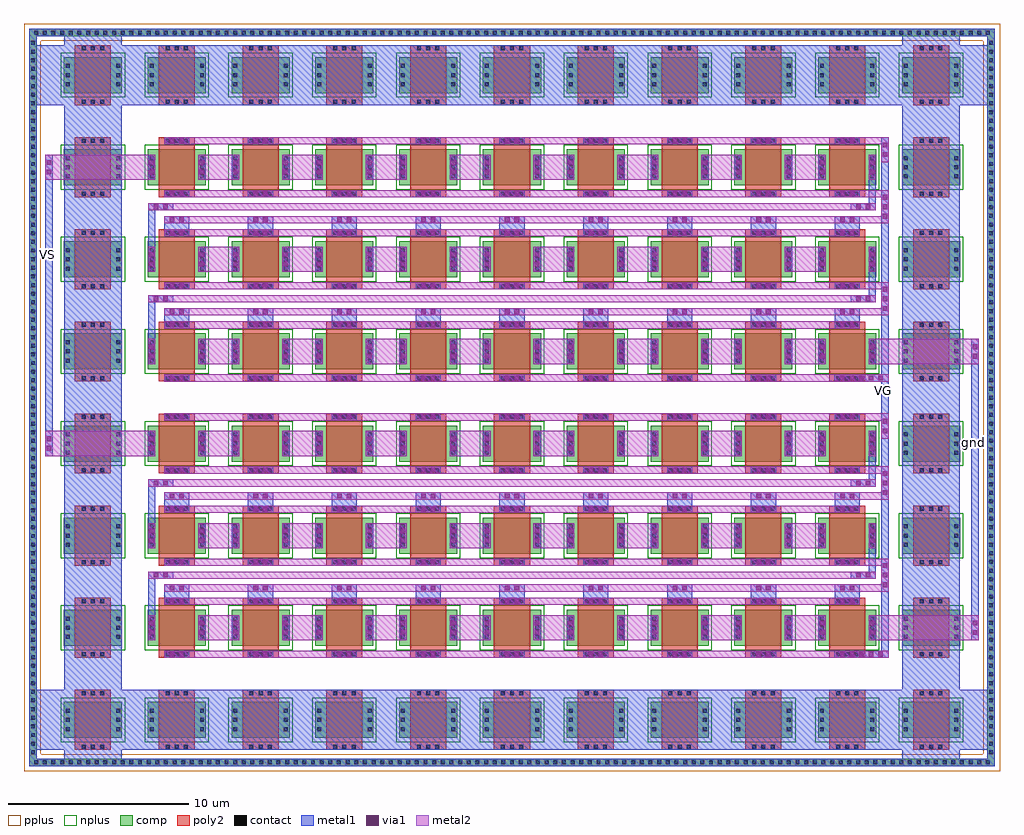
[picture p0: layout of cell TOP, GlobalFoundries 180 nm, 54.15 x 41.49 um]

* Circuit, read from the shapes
.subckt TOP VG VS gnd
XM1 VSUBS VSUBS VSUBS VSUBS nfet_03v3 w=2u l=2u m=34
XM2 n1 VG n2 VSUBS nfet_03v3 w=2u l=2u
XM3 n3 VG n4 VSUBS nfet_03v3 w=2u l=2u
XM4 n5 VG VS VSUBS nfet_03v3 w=2u l=2u
XM5 n6 VG n7 VSUBS nfet_03v3 w=2u l=2u
XM6 n8 VG n9 VSUBS nfet_03v3 w=2u l=2u
XM7 n10 VG VS VSUBS nfet_03v3 w=2u l=2u
XM8 n11 VG n1 VSUBS nfet_03v3 w=2u l=2u
XM9 n12 VG n3 VSUBS nfet_03v3 w=2u l=2u
XM10 n13 VG n5 VSUBS nfet_03v3 w=2u l=2u
XM11 n14 VG n6 VSUBS nfet_03v3 w=2u l=2u
XM12 n15 VG n8 VSUBS nfet_03v3 w=2u l=2u
XM13 n16 VG n10 VSUBS nfet_03v3 w=2u l=2u
XM14 n17 VG n11 VSUBS nfet_03v3 w=2u l=2u
XM15 n18 VG n12 VSUBS nfet_03v3 w=2u l=2u
XM16 n19 VG n13 VSUBS nfet_03v3 w=2u l=2u
XM17 n20 VG n14 VSUBS nfet_03v3 w=2u l=2u
XM18 n21 VG n15 VSUBS nfet_03v3 w=2u l=2u
XM19 n22 VG n16 VSUBS nfet_03v3 w=2u l=2u
XM20 n23 VG n17 VSUBS nfet_03v3 w=2u l=2u
XM21 n24 VG n18 VSUBS nfet_03v3 w=2u l=2u
XM22 n25 VG n19 VSUBS nfet_03v3 w=2u l=2u
XM23 n26 VG n20 VSUBS nfet_03v3 w=2u l=2u
XM24 n27 VG n21 VSUBS nfet_03v3 w=2u l=2u
XM25 n28 VG n22 VSUBS nfet_03v3 w=2u l=2u
XM26 n29 VG n23 VSUBS nfet_03v3 w=2u l=2u
XM27 n30 VG n24 VSUBS nfet_03v3 w=2u l=2u
XM28 n31 VG n25 VSUBS nfet_03v3 w=2u l=2u
XM29 n32 VG n26 VSUBS nfet_03v3 w=2u l=2u
XM30 n33 VG n27 VSUBS nfet_03v3 w=2u l=2u
XM31 n34 VG n28 VSUBS nfet_03v3 w=2u l=2u
XM32 n35 VG n29 VSUBS nfet_03v3 w=2u l=2u
XM33 n36 VG n30 VSUBS nfet_03v3 w=2u l=2u
XM34 n37 VG n31 VSUBS nfet_03v3 w=2u l=2u
XM35 n38 VG n32 VSUBS nfet_03v3 w=2u l=2u
XM36 n39 VG n33 VSUBS nfet_03v3 w=2u l=2u
XM37 n40 VG n34 VSUBS nfet_03v3 w=2u l=2u
XM38 n41 VG n35 VSUBS nfet_03v3 w=2u l=2u
XM39 n42 VG n36 VSUBS nfet_03v3 w=2u l=2u
XM40 n43 VG n37 VSUBS nfet_03v3 w=2u l=2u
XM41 n44 VG n38 VSUBS nfet_03v3 w=2u l=2u
XM42 n45 VG n39 VSUBS nfet_03v3 w=2u l=2u
XM43 n46 VG n40 VSUBS nfet_03v3 w=2u l=2u
XM44 n47 VG n41 VSUBS nfet_03v3 w=2u l=2u
XM45 n48 VG n42 VSUBS nfet_03v3 w=2u l=2u
XM46 n49 VG n43 VSUBS nfet_03v3 w=2u l=2u
XM47 n50 VG n44 VSUBS nfet_03v3 w=2u l=2u
XM48 n51 VG n45 VSUBS nfet_03v3 w=2u l=2u
XM49 n52 VG n46 VSUBS nfet_03v3 w=2u l=2u
XM50 gnd VG n47 VSUBS nfet_03v3 w=2u l=2u
XM51 n2 VG n48 VSUBS nfet_03v3 w=2u l=2u
XM52 n4 VG n49 VSUBS nfet_03v3 w=2u l=2u
XM53 gnd VG n50 VSUBS nfet_03v3 w=2u l=2u
XM54 n7 VG n51 VSUBS nfet_03v3 w=2u l=2u
XM55 n9 VG n52 VSUBS nfet_03v3 w=2u l=2u
.ends

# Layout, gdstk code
from math import pi, radians
import gdstk
lib = gdstk.Library(unit=1e-6, precision=1e-09)
def R(c, l, rs):  # rectangles x0, y0, x1, y1
    for r in rs: c.add(gdstk.rectangle(r[:2], r[2:], *l))
def A(c, l, x, y, w, h, nx, ny, dx, dy):  # array of equal rectangles
    R(c, l, [(x+i*dx, y+j*dy, x+i*dx+w, y+j*dy+h) for i in range(nx) for j in range(ny)])
comp = (22, 0)
poly2 = (30, 0)
pplus = (31, 0)
nplus = (32, 0)
contact = (33, 0)
metal1 = (34, 0)
via1 = (35, 0)
metal2 = (36, 0)

via_dev = lib.new_cell('via_dev')
R(via_dev, metal1, [(0,0,1.4,0.4)])
R(via_dev, via1, [(0.305,0.07,0.565,0.33), (0.835,0.07,1.095,0.33)])
R(via_dev, metal2, [(0,0,1.4,0.4)])

nfet = lib.new_cell('nfet')
R(nfet, comp, [(-0.42,0,0,2), (0,0,2.38,2), (2.38,0,2.8,2)])
R(nfet, poly2, [(0.19,-0.66,2.19,-0.3), (0.19,-0.3,2.19,2.3), (0.19,2.3,2.19,2.66)])
R(nfet, nplus, [(-0.59,-0.24,2.97,2.24)])
A(nfet, contact, 0.57, -0.59, 0.22, 0.22, 3, 2, 0.51, 2.96)
A(nfet, contact, -0.32, 0.38, 0.22, 0.22, 1, 3, 0, 0.51)
A(nfet, contact, 2.48, 0.38, 0.22, 0.22, 1, 3, 0, 0.51)
R(nfet, metal1, [(0.49,-0.67,1.89,-0.29), (-0.4,0.3,-0.02,1.7), (2.4,0.3,2.78,1.7), (0.49,2.29,1.89,2.67)])

via_dev_4 = lib.new_cell('via_dev$4')
R(via_dev_4, comp, [(0,0,40,0.4)])
A(via_dev_4, contact, 0.21, 0.09, 0.22, 0.22, 83, 1, 0.48, 0)
R(via_dev_4, metal1, [(0,0,40,0.4)])

via_dev_5 = lib.new_cell('via_dev$5')
R(via_dev_5, comp, [(0,0,53.55,0.4)])
A(via_dev_5, contact, 0.265, 0.09, 0.22, 0.22, 111, 1, 0.48, 0)
R(via_dev_5, metal1, [(0,0,53.55,0.4)])

via_dev_2 = lib.new_cell('via_dev$2')
R(via_dev_2, metal1, [(0,0,1.84,0.4)])
A(via_dev_2, via1, 0.26, 0.07, 0.26, 0.26, 3, 1, 0.53, 0)
R(via_dev_2, metal2, [(0,0,1.84,0.4)])

via_dev_1 = lib.new_cell('via_dev$1')
R(via_dev_1, metal1, [(0,0,3,0.4)])
A(via_dev_1, via1, 0.31, 0.07, 0.26, 0.26, 5, 1, 0.53, 0)
R(via_dev_1, metal2, [(0,0,3,0.4)])

top = lib.new_cell('TOP')
R(top, comp, [(-10.39,-33.4,-9.99,-33.185), (42.76,-33.4,43.16,-33.185), (-10.39,6.62,-9.99,6.835), (42.76,6.62,43.16,6.835)])
R(top, pplus, [(-10.69,-34.03,-9.75,7.46), (-10.69,-34.03,43.46,-33.09), (42.52,-34.03,43.46,7.46), (-10.69,6.52,43.46,7.46)])
A(top, metal1, -2.915, -24.79, 1.4, 1.13, 9, 2, 4.65, 5.11)
A(top, metal1, -2.915, -9.46, 1.4, 1.13, 9, 2, 4.65, 5.11)
R(top, metal1, [(-8.455,-33.73,-5.275,7.16), (38.045,-33.73,41.225,7.16), (-10.39,-33.4,-9.99,-33.185), (42.76,-33.4,43.16,-33.185), (-10.39,-32.84,43.16,-29.5), (36.875,-27.73,37.275,-14.17), (36.875,-27.73,37.275,-12), (-3.805,-26.76,-3.405,-23.145), (41.87,-26.76,42.27,-10.03), (34.285,-24.79,35.685,-23.66), (36.175,-23.34,36.575,-20.25), (36.175,-23.34,36.575,-20.25), (-3.805,-21.65,-3.405,-17.83), (34.285,-19.68,35.685,-18.55), (36.175,-18.23,36.575,-15.14), (36.175,-18.23,36.575,-15.14), (-9.5,-16.54,-9.1,0.19), (36.875,-12.4,37.275,1.16), (-3.805,-11.43,-3.405,-7.815), (34.285,-9.46,35.685,-8.33), (36.175,-8.01,36.575,-4.92), (36.175,-8.01,36.575,-4.92), (-3.805,-6.32,-3.405,-2.5), (34.285,-4.35,35.685,-3.22), (36.175,-2.9,36.575,0.19), (36.175,-2.9,36.575,0.19), (-10.39,2.93,43.16,6.27), (-10.39,6.62,-9.99,6.835), (42.76,6.62,43.16,6.835)])
A(top, metal2, -1.005, -26.76, 2.23, 1.4, 8, 6, 4.65, 5.11)
R(top, metal2, [(-2.915,-27.73,37.275,-27.33), (36.195,-26.76,42.27,-25.36), (-2.915,-24.79,35.685,-24.39), (-2.915,-24.06,37.275,-23.66), (-3.805,-23.34,36.575,-22.94), (-2.915,-22.62,37.275,-22.22), (-2.915,-19.68,35.685,-19.28), (-2.915,-18.95,37.275,-18.55), (-3.805,-18.23,36.575,-17.83), (-2.915,-17.51,37.275,-17.11), (-9.5,-16.54,-3.425,-15.14), (-2.915,-14.57,37.275,-14.17), (-2.915,-12.4,37.275,-12), (36.195,-11.43,42.27,-10.03), (-2.915,-9.46,35.685,-9.06), (-2.915,-8.73,37.275,-8.33), (-3.805,-8.01,36.575,-7.61), (-2.915,-7.29,37.275,-6.89), (-2.915,-4.35,35.685,-3.95), (-2.915,-3.62,37.275,-3.22), (-3.805,-2.9,36.575,-2.5), (-2.915,-2.18,37.275,-1.78), (-9.5,-1.21,-3.425,0.19), (-2.915,0.76,37.275,1.16)])
top.add(gdstk.Reference(via_dev, (17.085,-1.78), rotation=pi))
top.add(gdstk.Reference(via_dev, (17.085,1.16), rotation=pi))
top.add(gdstk.Reference(nfet, (15.195,-1.51)))
top.add(gdstk.Reference(via_dev, (17.085,-1.78), rotation=pi))
top.add(gdstk.Reference(via_dev, (15.685,-3.62)))
top.add(gdstk.Reference(via_dev, (17.085,-3.95), rotation=pi))
top.add(gdstk.Reference(via_dev, (17.085,-3.95), rotation=pi))
top.add(gdstk.Reference(via_dev, (15.685,-8.73)))
top.add(gdstk.Reference(via_dev, (17.085,-12), rotation=pi))
top.add(gdstk.Reference(nfet, (15.195,-6.62)))
top.add(gdstk.Reference(via_dev, (17.085,-6.89), rotation=pi))
top.add(gdstk.Reference(nfet, (15.195,-11.73)))
top.add(gdstk.Reference(via_dev, (17.085,-6.89), rotation=pi))
top.add(gdstk.Reference(via_dev, (17.085,-9.06), rotation=pi))
top.add(gdstk.Reference(via_dev, (17.085,-6.89), rotation=pi))
top.add(gdstk.Reference(via_dev, (17.085,-9.06), rotation=pi))
top.add(gdstk.Reference(via_dev, (17.085,-9.06), rotation=pi))
top.add(gdstk.Reference(via_dev, (17.085,-17.11), rotation=pi))
top.add(gdstk.Reference(via_dev, (17.085,-14.17), rotation=pi))
top.add(gdstk.Reference(via_dev, (17.085,-17.11), rotation=pi))
top.add(gdstk.Reference(via_dev, (17.085,-19.28), rotation=pi))
top.add(gdstk.Reference(via_dev, (17.085,-19.28), rotation=pi))
top.add(gdstk.Reference(via_dev, (15.685,-18.95)))
top.add(gdstk.Reference(nfet, (15.195,-16.84)))
top.add(gdstk.Reference(via_dev, (15.685,-24.06)))
top.add(gdstk.Reference(nfet, (15.195,-21.95)))
top.add(gdstk.Reference(nfet, (15.195,-27.06)))
top.add(gdstk.Reference(via_dev, (17.085,-24.39), rotation=pi))
top.add(gdstk.Reference(via_dev, (17.085,-22.22), rotation=pi))
top.add(gdstk.Reference(via_dev, (17.085,-24.39), rotation=pi))
top.add(gdstk.Reference(via_dev, (17.085,-24.39), rotation=pi))
top.add(gdstk.Reference(via_dev, (17.085,-27.33), rotation=pi))
top.add(gdstk.Reference(via_dev, (17.085,-22.22), rotation=pi))
top.add(gdstk.Reference(via_dev, (17.085,-22.22), rotation=pi))
top.add(gdstk.Reference(nfet, (15.195,-32.17)))
top.add(gdstk.Reference(via_dev_4, (-10.39,6.71), rotation=3*pi/2))
top.add(gdstk.Reference(via_dev_4, (42.76,6.71), rotation=3*pi/2))
top.add(gdstk.Reference(via_dev_5, (-10.39,6.76)))
top.add(gdstk.Reference(via_dev_5, (-10.39,-33.73)))
top.add(gdstk.Reference(nfet, (15.195,3.6)))
top.add(gdstk.Reference(via_dev, (31.035,-3.95), rotation=pi))
top.add(gdstk.Reference(via_dev, (31.035,-12), rotation=pi))
top.add(gdstk.Reference(nfet, (29.145,-6.62)))
top.add(gdstk.Reference(via_dev, (31.035,-6.89), rotation=pi))
top.add(gdstk.Reference(via_dev, (31.035,-6.89), rotation=pi))
top.add(gdstk.Reference(via_dev, (31.035,-1.78), rotation=pi))
top.add(gdstk.Reference(via_dev, (31.035,-6.89), rotation=pi))
top.add(gdstk.Reference(via_dev, (31.035,-9.06), rotation=pi))
top.add(gdstk.Reference(nfet, (29.145,-11.73)))
top.add(gdstk.Reference(via_dev, (31.035,-9.06), rotation=pi))
top.add(gdstk.Reference(via_dev, (31.035,-9.06), rotation=pi))
top.add(gdstk.Reference(via_dev, (29.635,-8.73)))
top.add(gdstk.Reference(via_dev_2, (36.875,-1.78), rotation=3*pi/2))
top.add(gdstk.Reference(via_dev_2, (36.875,-1.78), rotation=3*pi/2))
top.add(gdstk.Reference(via_dev, (31.035,1.16), rotation=pi))
top.add(gdstk.Reference(via_dev, (31.035,-1.78), rotation=pi))
top.add(gdstk.Reference(nfet, (29.145,-1.51)))
top.add(gdstk.Reference(via_dev, (31.035,-3.95), rotation=pi))
top.add(gdstk.Reference(via_dev, (29.635,-3.62)))
top.add(gdstk.Reference(nfet, (29.145,3.6)))
top.add(gdstk.Reference(via_dev, (35.685,-1.78), rotation=pi))
top.add(gdstk.Reference(via_dev, (35.685,-1.78), rotation=pi))
top.add(gdstk.Reference(via_dev, (35.175,-2.9)))
top.add(gdstk.Reference(via_dev, (35.685,-1.78), rotation=pi))
top.add(gdstk.Reference(via_dev, (35.175,-2.9)))
top.add(gdstk.Reference(via_dev, (36.175,0.19), rotation=3*pi/2))
top.add(gdstk.Reference(via_dev, (36.175,0.19), rotation=3*pi/2))
top.add(gdstk.Reference(nfet, (38.445,-1.51)))
top.add(gdstk.Reference(via_dev, (35.685,1.16), rotation=pi))
top.add(gdstk.Reference(via_dev, (36.875,1.16), rotation=3*pi/2))
top.add(gdstk.Reference(via_dev, (31.525,0.19), rotation=3*pi/2))
top.add(gdstk.Reference(nfet, (33.795,-1.51)))
top.add(gdstk.Reference(via_dev, (36.175,0.19), rotation=3*pi/2))
top.add(gdstk.Reference(via_dev, (35.685,-1.78), rotation=pi))
top.add(gdstk.Reference(via_dev, (33.395,0.19), rotation=3*pi/2))
top.add(gdstk.Reference(via_dev, (35.685,-1.78), rotation=pi))
top.add(gdstk.Reference(via_dev, (36.175,0.19), rotation=3*pi/2))
top.add(gdstk.Reference(via_dev, (35.685,1.16), rotation=pi))
top.add(gdstk.Reference(via_dev, (36.175,0.19), rotation=3*pi/2))
top.add(gdstk.Reference(via_dev, (35.175,-2.9)))
top.add(gdstk.Reference(via_dev, (35.685,-1.78), rotation=pi))
top.add(gdstk.Reference(nfet, (33.795,3.6)))
top.add(gdstk.Reference(via_dev, (35.175,-2.9)))
top.add(gdstk.Reference(nfet, (38.445,3.6)))
top.add(gdstk.Reference(via_dev, (21.735,-1.78), rotation=pi))
top.add(gdstk.Reference(via_dev, (26.385,1.16), rotation=pi))
top.add(gdstk.Reference(via_dev, (26.385,-1.78), rotation=pi))
top.add(gdstk.Reference(via_dev, (21.735,-1.78), rotation=pi))
top.add(gdstk.Reference(via_dev, (22.225,0.19), rotation=3*pi/2))
top.add(gdstk.Reference(via_dev, (26.385,-1.78), rotation=pi))
top.add(gdstk.Reference(via_dev, (24.095,0.19), rotation=3*pi/2))
top.add(gdstk.Reference(nfet, (24.495,-1.51)))
top.add(gdstk.Reference(nfet, (19.845,-1.51)))
top.add(gdstk.Reference(via_dev, (26.875,0.19), rotation=3*pi/2))
top.add(gdstk.Reference(via_dev, (28.745,0.19), rotation=3*pi/2))
top.add(gdstk.Reference(nfet, (19.845,3.6)))
top.add(gdstk.Reference(via_dev, (21.735,1.16), rotation=pi))
top.add(gdstk.Reference(nfet, (24.495,3.6)))
top.add(gdstk.Reference(via_dev, (17.575,0.19), rotation=3*pi/2))
top.add(gdstk.Reference(via_dev, (19.445,0.19), rotation=3*pi/2))
top.add(gdstk.Reference(nfet, (19.845,-6.62)))
top.add(gdstk.Reference(via_dev, (21.735,-9.06), rotation=pi))
top.add(gdstk.Reference(via_dev, (17.575,-4.92), rotation=3*pi/2))
top.add(gdstk.Reference(via_dev, (19.445,-4.92), rotation=3*pi/2))
top.add(gdstk.Reference(via_dev, (21.735,-3.95), rotation=pi))
top.add(gdstk.Reference(via_dev, (24.985,-8.73)))
top.add(gdstk.Reference(nfet, (24.495,-6.62)))
top.add(gdstk.Reference(via_dev, (26.875,-10.03), rotation=3*pi/2))
top.add(gdstk.Reference(via_dev, (26.385,-12), rotation=pi))
top.add(gdstk.Reference(via_dev, (21.735,-3.95), rotation=pi))
top.add(gdstk.Reference(via_dev, (28.745,-10.03), rotation=3*pi/2))
top.add(gdstk.Reference(via_dev, (20.335,-3.62)))
top.add(gdstk.Reference(via_dev, (26.385,-9.06), rotation=pi))
top.add(gdstk.Reference(via_dev, (26.385,-6.89), rotation=pi))
top.add(gdstk.Reference(via_dev, (26.385,-3.95), rotation=pi))
top.add(gdstk.Reference(via_dev, (22.225,-10.03), rotation=3*pi/2))
top.add(gdstk.Reference(via_dev, (26.385,-6.89), rotation=pi))
top.add(gdstk.Reference(via_dev, (21.735,-12), rotation=pi))
top.add(gdstk.Reference(via_dev, (21.735,-9.06), rotation=pi))
top.add(gdstk.Reference(via_dev, (26.385,-6.89), rotation=pi))
top.add(gdstk.Reference(via_dev, (17.575,-10.03), rotation=3*pi/2))
top.add(gdstk.Reference(via_dev, (21.735,-9.06), rotation=pi))
top.add(gdstk.Reference(via_dev, (19.445,-10.03), rotation=3*pi/2))
top.add(gdstk.Reference(via_dev, (21.735,-9.06), rotation=pi))
top.add(gdstk.Reference(via_dev, (20.335,-8.73)))
top.add(gdstk.Reference(via_dev, (21.735,-6.89), rotation=pi))
top.add(gdstk.Reference(nfet, (24.495,-11.73)))
top.add(gdstk.Reference(via_dev, (21.735,-3.95), rotation=pi))
top.add(gdstk.Reference(via_dev, (26.385,-3.95), rotation=pi))
top.add(gdstk.Reference(via_dev, (26.385,-9.06), rotation=pi))
top.add(gdstk.Reference(via_dev, (24.095,-10.03), rotation=3*pi/2))
top.add(gdstk.Reference(via_dev, (26.385,-3.95), rotation=pi))
top.add(gdstk.Reference(via_dev, (24.985,-3.62)))
top.add(gdstk.Reference(nfet, (19.845,-11.73)))
top.add(gdstk.Reference(via_dev, (26.385,-9.06), rotation=pi))
top.add(gdstk.Reference(via_dev, (22.225,-4.92), rotation=3*pi/2))
top.add(gdstk.Reference(via_dev, (24.095,-4.92), rotation=3*pi/2))
top.add(gdstk.Reference(via_dev, (26.875,-4.92), rotation=3*pi/2))
top.add(gdstk.Reference(via_dev, (28.745,-4.92), rotation=3*pi/2))
top.add(gdstk.Reference(via_dev, (21.735,-6.89), rotation=pi))
top.add(gdstk.Reference(via_dev, (21.735,-6.89), rotation=pi))
top.add(gdstk.Reference(via_dev, (26.385,-9.06), rotation=pi))
top.add(gdstk.Reference(via_dev_2, (36.875,-6.89), rotation=3*pi/2))
top.add(gdstk.Reference(via_dev, (35.685,-6.89), rotation=pi))
top.add(gdstk.Reference(via_dev, (35.685,-3.95), rotation=pi))
top.add(gdstk.Reference(via_dev, (36.175,-4.92), rotation=3*pi/2))
top.add(gdstk.Reference(via_dev, (35.175,-8.01)))
top.add(gdstk.Reference(via_dev, (35.685,-9.06), rotation=pi))
top.add(gdstk.Reference(via_dev, (36.175,-10.03), rotation=3*pi/2))
top.add(gdstk.Reference(via_dev_1, (34.275,-12.4)))
top.add(gdstk.Reference(via_dev, (34.285,-3.62)))
top.add(gdstk.Reference(via_dev, (35.175,-8.01)))
top.add(gdstk.Reference(via_dev, (35.685,-6.89), rotation=pi))
top.add(gdstk.Reference(nfet, (33.795,-6.62)))
top.add(gdstk.Reference(via_dev, (35.685,-6.89), rotation=pi))
top.add(gdstk.Reference(via_dev, (35.685,-3.95), rotation=pi))
top.add(gdstk.Reference(via_dev, (35.685,-9.06), rotation=pi))
top.add(gdstk.Reference(nfet, (33.795,-11.73)))
top.add(gdstk.Reference(via_dev, (36.175,-4.92), rotation=3*pi/2))
top.add(gdstk.Reference(via_dev, (31.525,-10.03), rotation=3*pi/2))
top.add(gdstk.Reference(via_dev, (36.175,-4.92), rotation=3*pi/2))
top.add(gdstk.Reference(via_dev, (36.175,-4.92), rotation=3*pi/2))
top.add(gdstk.Reference(via_dev, (36.175,-4.92), rotation=3*pi/2))
top.add(gdstk.Reference(via_dev, (35.175,-8.01)))
top.add(gdstk.Reference(via_dev, (35.175,-8.01)))
top.add(gdstk.Reference(via_dev, (41.87,-10.03), rotation=3*pi/2))
top.add(gdstk.Reference(via_dev, (35.685,-9.06), rotation=pi))
top.add(gdstk.Reference(via_dev, (35.685,-3.95), rotation=pi))
top.add(gdstk.Reference(via_dev, (34.285,-3.62)))
top.add(gdstk.Reference(via_dev, (35.685,-9.06), rotation=pi))
top.add(gdstk.Reference(via_dev, (34.285,-8.73)))
top.add(gdstk.Reference(via_dev, (33.395,-10.03), rotation=3*pi/2))
top.add(gdstk.Reference(via_dev, (35.685,-6.89), rotation=pi))
top.add(gdstk.Reference(via_dev, (36.175,-10.03), rotation=3*pi/2))
top.add(gdstk.Reference(via_dev, (35.685,-6.89), rotation=pi))
top.add(gdstk.Reference(nfet, (38.445,-6.62)))
top.add(gdstk.Reference(nfet, (38.445,-11.73)))
top.add(gdstk.Reference(via_dev, (36.175,-10.03), rotation=3*pi/2))
top.add(gdstk.Reference(via_dev, (36.175,-4.92), rotation=3*pi/2))
top.add(gdstk.Reference(via_dev, (35.685,-6.89), rotation=pi))
top.add(gdstk.Reference(via_dev, (31.525,-4.92), rotation=3*pi/2))
top.add(gdstk.Reference(via_dev_2, (36.875,-6.89), rotation=3*pi/2))
top.add(gdstk.Reference(via_dev, (34.285,-8.73)))
top.add(gdstk.Reference(via_dev, (33.395,-4.92), rotation=3*pi/2))
top.add(gdstk.Reference(via_dev, (35.685,-9.06), rotation=pi))
top.add(gdstk.Reference(via_dev, (3.135,-1.78), rotation=pi))
top.add(gdstk.Reference(via_dev, (3.135,-3.95), rotation=pi))
top.add(gdstk.Reference(via_dev, (3.135,-3.95), rotation=pi))
top.add(gdstk.Reference(via_dev, (1.735,-3.62)))
top.add(gdstk.Reference(via_dev, (1.735,-8.73)))
top.add(gdstk.Reference(via_dev, (3.135,-9.06), rotation=pi))
top.add(gdstk.Reference(via_dev, (3.135,-6.89), rotation=pi))
top.add(gdstk.Reference(nfet, (1.245,-11.73)))
top.add(gdstk.Reference(via_dev, (3.135,-9.06), rotation=pi))
top.add(gdstk.Reference(via_dev, (3.135,-12), rotation=pi))
top.add(gdstk.Reference(via_dev, (3.135,-6.89), rotation=pi))
top.add(gdstk.Reference(nfet, (1.245,-6.62)))
top.add(gdstk.Reference(via_dev, (3.135,-6.89), rotation=pi))
top.add(gdstk.Reference(via_dev, (3.135,-9.06), rotation=pi))
top.add(gdstk.Reference(via_dev, (3.135,1.16), rotation=pi))
top.add(gdstk.Reference(nfet, (1.245,-1.51)))
top.add(gdstk.Reference(nfet, (1.245,3.6)))
top.add(gdstk.Reference(via_dev, (3.135,-1.78), rotation=pi))
top.add(gdstk.Reference(via_dev, (10.145,0.19), rotation=3*pi/2))
top.add(gdstk.Reference(via_dev, (12.925,0.19), rotation=3*pi/2))
top.add(gdstk.Reference(via_dev, (14.795,0.19), rotation=3*pi/2))
top.add(gdstk.Reference(via_dev, (12.435,-1.78), rotation=pi))
top.add(gdstk.Reference(nfet, (5.895,-1.51)))
top.add(gdstk.Reference(via_dev, (12.435,1.16), rotation=pi))
top.add(gdstk.Reference(nfet, (10.545,-1.51)))
top.add(gdstk.Reference(via_dev, (12.435,-1.78), rotation=pi))
top.add(gdstk.Reference(via_dev, (7.785,-1.78), rotation=pi))
top.add(gdstk.Reference(via_dev, (7.785,1.16), rotation=pi))
top.add(gdstk.Reference(via_dev, (7.785,-1.78), rotation=pi))
top.add(gdstk.Reference(via_dev, (3.625,0.19), rotation=3*pi/2))
top.add(gdstk.Reference(nfet, (5.895,3.6)))
top.add(gdstk.Reference(nfet, (10.545,3.6)))
top.add(gdstk.Reference(via_dev, (5.495,0.19), rotation=3*pi/2))
top.add(gdstk.Reference(via_dev, (8.275,0.19), rotation=3*pi/2))
top.add(gdstk.Reference(via_dev, (-1.515,1.16), rotation=pi))
top.add(gdstk.Reference(via_dev, (-3.805,0.19), rotation=3*pi/2))
top.add(gdstk.Reference(via_dev, (-1.025,0.19), rotation=3*pi/2))
top.add(gdstk.Reference(via_dev, (0.845,0.19), rotation=3*pi/2))
top.add(gdstk.Reference(nfet, (-3.405,-1.51)))
top.add(gdstk.Reference(via_dev, (-1.515,-1.78), rotation=pi))
top.add(gdstk.Reference(via_dev, (-1.515,-1.78), rotation=pi))
top.add(gdstk.Reference(nfet, (-8.055,-1.51)))
top.add(gdstk.Reference(via_dev, (-3.805,-2.9)))
top.add(gdstk.Reference(nfet, (-8.055,3.6)))
top.add(gdstk.Reference(via_dev, (-9.5,0.19), rotation=3*pi/2))
top.add(gdstk.Reference(nfet, (-3.405,3.6)))
top.add(gdstk.Reference(via_dev, (-3.805,-2.9)))
top.add(gdstk.Reference(via_dev, (-2.915,-8.73)))
top.add(gdstk.Reference(via_dev, (-1.515,-3.95), rotation=pi))
top.add(gdstk.Reference(nfet, (-3.405,-6.62)))
top.add(gdstk.Reference(nfet, (-3.405,-11.73)))
top.add(gdstk.Reference(via_dev, (-1.515,-3.95), rotation=pi))
top.add(gdstk.Reference(via_dev, (-1.515,-12), rotation=pi))
top.add(gdstk.Reference(via_dev, (-1.515,-9.06), rotation=pi))
top.add(gdstk.Reference(via_dev, (-3.805,-4.92), rotation=3*pi/2))
top.add(gdstk.Reference(via_dev, (-1.515,-6.89), rotation=pi))
top.add(gdstk.Reference(via_dev, (-3.805,-8.01)))
top.add(gdstk.Reference(via_dev, (-1.515,-3.95), rotation=pi))
top.add(gdstk.Reference(via_dev, (-2.915,-3.62)))
top.add(gdstk.Reference(via_dev, (-3.805,-10.03), rotation=3*pi/2))
top.add(gdstk.Reference(via_dev, (-1.025,-10.03), rotation=3*pi/2))
top.add(gdstk.Reference(via_dev, (0.845,-10.03), rotation=3*pi/2))
top.add(gdstk.Reference(via_dev, (-1.515,-6.89), rotation=pi))
top.add(gdstk.Reference(via_dev, (-1.025,-4.92), rotation=3*pi/2))
top.add(gdstk.Reference(via_dev, (-3.805,-8.01)))
top.add(gdstk.Reference(nfet, (-8.055,-6.62)))
top.add(gdstk.Reference(nfet, (-8.055,-11.73)))
top.add(gdstk.Reference(via_dev, (0.845,-4.92), rotation=3*pi/2))
top.add(gdstk.Reference(via_dev, (-1.515,-9.06), rotation=pi))
top.add(gdstk.Reference(via_dev, (-1.515,-6.89), rotation=pi))
top.add(gdstk.Reference(via_dev, (-3.805,-4.92), rotation=3*pi/2))
top.add(gdstk.Reference(via_dev, (-1.515,-9.06), rotation=pi))
top.add(gdstk.Reference(via_dev, (-1.515,-9.06), rotation=pi))
top.add(gdstk.Reference(via_dev, (8.275,-4.92), rotation=3*pi/2))
top.add(gdstk.Reference(via_dev, (10.145,-4.92), rotation=3*pi/2))
top.add(gdstk.Reference(via_dev, (12.925,-4.92), rotation=3*pi/2))
top.add(gdstk.Reference(via_dev, (7.785,-3.95), rotation=pi))
top.add(gdstk.Reference(via_dev, (7.785,-3.95), rotation=pi))
top.add(gdstk.Reference(via_dev, (7.785,-9.06), rotation=pi))
top.add(gdstk.Reference(via_dev, (12.435,-9.06), rotation=pi))
top.add(gdstk.Reference(via_dev, (7.785,-6.89), rotation=pi))
top.add(gdstk.Reference(via_dev, (7.785,-6.89), rotation=pi))
top.add(gdstk.Reference(via_dev, (7.785,-3.95), rotation=pi))
top.add(gdstk.Reference(via_dev, (12.435,-3.95), rotation=pi))
top.add(gdstk.Reference(via_dev, (12.435,-9.06), rotation=pi))
top.add(gdstk.Reference(via_dev, (11.035,-8.73)))
top.add(gdstk.Reference(via_dev, (7.785,-9.06), rotation=pi))
top.add(gdstk.Reference(via_dev, (12.435,-9.06), rotation=pi))
top.add(gdstk.Reference(via_dev, (14.795,-4.92), rotation=3*pi/2))
top.add(gdstk.Reference(via_dev, (7.785,-9.06), rotation=pi))
top.add(gdstk.Reference(via_dev, (6.385,-8.73)))
top.add(gdstk.Reference(via_dev, (14.795,-10.03), rotation=3*pi/2))
top.add(gdstk.Reference(via_dev, (6.385,-3.62)))
top.add(gdstk.Reference(nfet, (5.895,-11.73)))
top.add(gdstk.Reference(nfet, (5.895,-6.62)))
top.add(gdstk.Reference(via_dev, (12.435,-3.95), rotation=pi))
top.add(gdstk.Reference(via_dev, (3.625,-4.92), rotation=3*pi/2))
top.add(gdstk.Reference(via_dev, (12.435,-6.89), rotation=pi))
top.add(gdstk.Reference(nfet, (10.545,-6.62)))
top.add(gdstk.Reference(via_dev, (7.785,-12), rotation=pi))
top.add(gdstk.Reference(via_dev, (12.435,-12), rotation=pi))
top.add(gdstk.Reference(nfet, (10.545,-11.73)))
top.add(gdstk.Reference(via_dev, (7.785,-9.06), rotation=pi))
top.add(gdstk.Reference(via_dev, (5.495,-10.03), rotation=3*pi/2))
top.add(gdstk.Reference(via_dev, (8.275,-10.03), rotation=3*pi/2))
top.add(gdstk.Reference(via_dev, (12.435,-9.06), rotation=pi))
top.add(gdstk.Reference(via_dev, (7.785,-6.89), rotation=pi))
top.add(gdstk.Reference(via_dev, (12.435,-6.89), rotation=pi))
top.add(gdstk.Reference(via_dev, (10.145,-10.03), rotation=3*pi/2))
top.add(gdstk.Reference(via_dev, (12.435,-3.95), rotation=pi))
top.add(gdstk.Reference(via_dev, (3.625,-10.03), rotation=3*pi/2))
top.add(gdstk.Reference(via_dev, (11.035,-3.62)))
top.add(gdstk.Reference(via_dev, (12.925,-10.03), rotation=3*pi/2))
top.add(gdstk.Reference(via_dev, (5.495,-4.92), rotation=3*pi/2))
top.add(gdstk.Reference(via_dev, (12.435,-6.89), rotation=pi))
top.add(gdstk.Reference(via_dev, (3.135,-17.11), rotation=pi))
top.add(gdstk.Reference(via_dev, (3.135,-14.17), rotation=pi))
top.add(gdstk.Reference(nfet, (1.245,-16.84)))
top.add(gdstk.Reference(via_dev, (3.135,-17.11), rotation=pi))
top.add(gdstk.Reference(via_dev, (3.135,-22.22), rotation=pi))
top.add(gdstk.Reference(nfet, (1.245,-21.95)))
top.add(gdstk.Reference(via_dev, (3.135,-22.22), rotation=pi))
top.add(gdstk.Reference(via_dev, (3.135,-24.39), rotation=pi))
top.add(gdstk.Reference(via_dev, (3.135,-19.28), rotation=pi))
top.add(gdstk.Reference(via_dev, (1.735,-24.06)))
top.add(gdstk.Reference(via_dev, (3.135,-24.39), rotation=pi))
top.add(gdstk.Reference(via_dev, (3.135,-22.22), rotation=pi))
top.add(gdstk.Reference(nfet, (1.245,-27.06)))
top.add(gdstk.Reference(via_dev, (3.135,-24.39), rotation=pi))
top.add(gdstk.Reference(via_dev, (3.135,-27.33), rotation=pi))
top.add(gdstk.Reference(via_dev, (3.135,-19.28), rotation=pi))
top.add(gdstk.Reference(via_dev, (1.735,-18.95)))
top.add(gdstk.Reference(nfet, (1.245,-32.17)))
top.add(gdstk.Reference(via_dev, (7.785,-19.28), rotation=pi))
top.add(gdstk.Reference(via_dev, (12.435,-22.22), rotation=pi))
top.add(gdstk.Reference(via_dev, (14.795,-20.25), rotation=3*pi/2))
top.add(gdstk.Reference(via_dev, (7.785,-22.22), rotation=pi))
top.add(gdstk.Reference(via_dev, (7.785,-22.22), rotation=pi))
top.add(gdstk.Reference(via_dev, (12.435,-17.11), rotation=pi))
top.add(gdstk.Reference(nfet, (5.895,-16.84)))
top.add(gdstk.Reference(via_dev, (3.625,-20.25), rotation=3*pi/2))
top.add(gdstk.Reference(via_dev, (12.435,-14.17), rotation=pi))
top.add(gdstk.Reference(nfet, (10.545,-16.84)))
top.add(gdstk.Reference(via_dev, (12.435,-17.11), rotation=pi))
top.add(gdstk.Reference(via_dev, (7.785,-17.11), rotation=pi))
top.add(gdstk.Reference(via_dev, (12.435,-19.28), rotation=pi))
top.add(gdstk.Reference(via_dev, (7.785,-17.11), rotation=pi))
top.add(gdstk.Reference(via_dev, (3.625,-15.14), rotation=3*pi/2))
top.add(gdstk.Reference(nfet, (5.895,-21.95)))
top.add(gdstk.Reference(via_dev, (12.435,-22.22), rotation=pi))
top.add(gdstk.Reference(nfet, (10.545,-21.95)))
top.add(gdstk.Reference(via_dev, (14.795,-15.14), rotation=3*pi/2))
top.add(gdstk.Reference(via_dev, (7.785,-22.22), rotation=pi))
top.add(gdstk.Reference(via_dev, (5.495,-15.14), rotation=3*pi/2))
top.add(gdstk.Reference(via_dev, (12.435,-19.28), rotation=pi))
top.add(gdstk.Reference(via_dev, (12.435,-22.22), rotation=pi))
top.add(gdstk.Reference(via_dev, (11.035,-18.95)))
top.add(gdstk.Reference(via_dev, (7.785,-19.28), rotation=pi))
top.add(gdstk.Reference(via_dev, (6.385,-18.95)))
top.add(gdstk.Reference(via_dev, (12.435,-19.28), rotation=pi))
top.add(gdstk.Reference(via_dev, (8.275,-15.14), rotation=3*pi/2))
top.add(gdstk.Reference(via_dev, (10.145,-15.14), rotation=3*pi/2))
top.add(gdstk.Reference(via_dev, (12.925,-15.14), rotation=3*pi/2))
top.add(gdstk.Reference(via_dev, (5.495,-20.25), rotation=3*pi/2))
top.add(gdstk.Reference(via_dev, (8.275,-20.25), rotation=3*pi/2))
top.add(gdstk.Reference(via_dev, (10.145,-20.25), rotation=3*pi/2))
top.add(gdstk.Reference(via_dev, (12.925,-20.25), rotation=3*pi/2))
top.add(gdstk.Reference(via_dev, (7.785,-14.17), rotation=pi))
top.add(gdstk.Reference(via_dev, (7.785,-19.28), rotation=pi))
top.add(gdstk.Reference(nfet, (-8.055,-21.95)))
top.add(gdstk.Reference(via_dev, (-1.515,-14.17), rotation=pi))
top.add(gdstk.Reference(via_dev, (-1.515,-19.28), rotation=pi))
top.add(gdstk.Reference(via_dev, (-3.805,-15.14), rotation=3*pi/2))
top.add(gdstk.Reference(via_dev, (-1.025,-15.14), rotation=3*pi/2))
top.add(gdstk.Reference(via_dev, (-1.515,-19.28), rotation=pi))
top.add(gdstk.Reference(via_dev, (-2.915,-18.95)))
top.add(gdstk.Reference(via_dev, (-1.025,-20.25), rotation=3*pi/2))
top.add(gdstk.Reference(via_dev, (0.845,-20.25), rotation=3*pi/2))
top.add(gdstk.Reference(via_dev, (-3.805,-20.25), rotation=3*pi/2))
top.add(gdstk.Reference(via_dev, (-1.515,-22.22), rotation=pi))
top.add(gdstk.Reference(via_dev, (0.845,-15.14), rotation=3*pi/2))
top.add(gdstk.Reference(nfet, (-3.405,-16.84)))
top.add(gdstk.Reference(via_dev, (-9.5,-15.14), rotation=3*pi/2))
top.add(gdstk.Reference(via_dev, (-1.515,-19.28), rotation=pi))
top.add(gdstk.Reference(via_dev, (-1.515,-17.11), rotation=pi))
top.add(gdstk.Reference(via_dev, (-1.515,-17.11), rotation=pi))
top.add(gdstk.Reference(nfet, (-8.055,-16.84)))
top.add(gdstk.Reference(via_dev, (-3.805,-18.23)))
top.add(gdstk.Reference(nfet, (-3.405,-21.95)))
top.add(gdstk.Reference(via_dev, (-1.515,-22.22), rotation=pi))
top.add(gdstk.Reference(via_dev, (-3.805,-20.25), rotation=3*pi/2))
top.add(gdstk.Reference(via_dev, (-1.515,-22.22), rotation=pi))
top.add(gdstk.Reference(via_dev, (-3.805,-23.34)))
top.add(gdstk.Reference(via_dev, (-3.805,-18.23)))
top.add(gdstk.Reference(via_dev, (-3.805,-23.34)))
top.add(gdstk.Reference(via_dev, (-1.515,-27.33), rotation=pi))
top.add(gdstk.Reference(via_dev, (-1.515,-24.39), rotation=pi))
top.add(gdstk.Reference(via_dev, (-1.515,-24.39), rotation=pi))
top.add(gdstk.Reference(via_dev, (-1.515,-24.39), rotation=pi))
top.add(gdstk.Reference(via_dev, (-2.915,-24.06)))
top.add(gdstk.Reference(nfet, (-8.055,-27.06)))
top.add(gdstk.Reference(via_dev, (-1.515,-24.39), rotation=pi))
top.add(gdstk.Reference(via_dev, (-3.805,-25.36), rotation=3*pi/2))
top.add(gdstk.Reference(via_dev, (-1.025,-25.36), rotation=3*pi/2))
top.add(gdstk.Reference(nfet, (-3.405,-27.06)))
top.add(gdstk.Reference(nfet, (-8.055,-32.17)))
top.add(gdstk.Reference(via_dev, (0.845,-25.36), rotation=3*pi/2))
top.add(gdstk.Reference(nfet, (-3.405,-32.17)))
top.add(gdstk.Reference(via_dev, (7.785,-24.39), rotation=pi))
top.add(gdstk.Reference(via_dev, (3.625,-25.36), rotation=3*pi/2))
top.add(gdstk.Reference(via_dev, (12.435,-24.39), rotation=pi))
top.add(gdstk.Reference(via_dev, (11.035,-24.06)))
top.add(gdstk.Reference(nfet, (5.895,-32.17)))
top.add(gdstk.Reference(nfet, (10.545,-32.17)))
top.add(gdstk.Reference(via_dev, (7.785,-24.39), rotation=pi))
top.add(gdstk.Reference(via_dev, (6.385,-24.06)))
top.add(gdstk.Reference(via_dev, (14.795,-25.36), rotation=3*pi/2))
top.add(gdstk.Reference(nfet, (5.895,-27.06)))
top.add(gdstk.Reference(via_dev, (7.785,-24.39), rotation=pi))
top.add(gdstk.Reference(via_dev, (12.435,-24.39), rotation=pi))
top.add(gdstk.Reference(via_dev, (5.495,-25.36), rotation=3*pi/2))
top.add(gdstk.Reference(via_dev, (12.925,-25.36), rotation=3*pi/2))
top.add(gdstk.Reference(via_dev, (8.275,-25.36), rotation=3*pi/2))
top.add(gdstk.Reference(via_dev, (7.785,-27.33), rotation=pi))
top.add(gdstk.Reference(via_dev, (12.435,-24.39), rotation=pi))
top.add(gdstk.Reference(via_dev, (12.435,-27.33), rotation=pi))
top.add(gdstk.Reference(nfet, (10.545,-27.06)))
top.add(gdstk.Reference(via_dev, (7.785,-24.39), rotation=pi))
top.add(gdstk.Reference(via_dev, (12.435,-24.39), rotation=pi))
top.add(gdstk.Reference(via_dev, (10.145,-25.36), rotation=3*pi/2))
top.add(gdstk.Reference(via_dev, (31.035,-17.11), rotation=pi))
top.add(gdstk.Reference(via_dev, (31.035,-14.17), rotation=pi))
top.add(gdstk.Reference(nfet, (29.145,-16.84)))
top.add(gdstk.Reference(via_dev, (31.035,-19.28), rotation=pi))
top.add(gdstk.Reference(via_dev, (29.635,-18.95)))
top.add(gdstk.Reference(via_dev, (31.035,-19.28), rotation=pi))
top.add(gdstk.Reference(via_dev, (31.035,-17.11), rotation=pi))
top.add(gdstk.Reference(via_dev, (31.035,-22.22), rotation=pi))
top.add(gdstk.Reference(via_dev, (31.035,-24.39), rotation=pi))
top.add(gdstk.Reference(via_dev, (31.035,-27.33), rotation=pi))
top.add(gdstk.Reference(nfet, (29.145,-27.06)))
top.add(gdstk.Reference(via_dev, (31.035,-24.39), rotation=pi))
top.add(gdstk.Reference(via_dev, (31.035,-24.39), rotation=pi))
top.add(gdstk.Reference(via_dev, (29.635,-24.06)))
top.add(gdstk.Reference(nfet, (29.145,-21.95)))
top.add(gdstk.Reference(via_dev, (31.035,-22.22), rotation=pi))
top.add(gdstk.Reference(via_dev, (31.035,-22.22), rotation=pi))
top.add(gdstk.Reference(via_dev_2, (36.875,-22.22), rotation=3*pi/2))
top.add(gdstk.Reference(via_dev_2, (36.875,-22.22), rotation=3*pi/2))
top.add(gdstk.Reference(nfet, (29.145,-32.17)))
top.add(gdstk.Reference(via_dev, (35.685,-17.11), rotation=pi))
top.add(gdstk.Reference(nfet, (33.795,-16.84)))
top.add(gdstk.Reference(via_dev, (35.685,-14.17), rotation=pi))
top.add(gdstk.Reference(via_dev_2, (36.875,-17.11), rotation=3*pi/2))
top.add(gdstk.Reference(nfet, (33.795,-21.95)))
top.add(gdstk.Reference(via_dev, (35.685,-19.28), rotation=pi))
top.add(gdstk.Reference(via_dev, (34.285,-18.95)))
top.add(gdstk.Reference(via_dev, (31.525,-15.14), rotation=3*pi/2))
top.add(gdstk.Reference(via_dev, (33.395,-15.14), rotation=3*pi/2))
top.add(gdstk.Reference(via_dev, (31.525,-20.25), rotation=3*pi/2))
top.add(gdstk.Reference(via_dev, (33.395,-20.25), rotation=3*pi/2))
top.add(gdstk.Reference(via_dev, (35.685,-22.22), rotation=pi))
top.add(gdstk.Reference(via_dev, (35.175,-23.34)))
top.add(gdstk.Reference(via_dev, (35.175,-23.34)))
top.add(gdstk.Reference(via_dev, (36.175,-20.25), rotation=3*pi/2))
top.add(gdstk.Reference(nfet, (38.445,-21.95)))
top.add(gdstk.Reference(via_dev, (35.685,-22.22), rotation=pi))
top.add(gdstk.Reference(via_dev, (36.175,-15.14), rotation=3*pi/2))
top.add(gdstk.Reference(via_dev, (35.685,-19.28), rotation=pi))
top.add(gdstk.Reference(via_dev, (35.685,-22.22), rotation=pi))
top.add(gdstk.Reference(via_dev, (36.175,-15.14), rotation=3*pi/2))
top.add(gdstk.Reference(via_dev, (35.175,-23.34)))
top.add(gdstk.Reference(via_dev, (35.175,-23.34)))
top.add(gdstk.Reference(via_dev, (35.685,-22.22), rotation=pi))
top.add(gdstk.Reference(via_dev, (36.175,-15.14), rotation=3*pi/2))
top.add(gdstk.Reference(via_dev, (35.685,-22.22), rotation=pi))
top.add(gdstk.Reference(via_dev, (35.685,-22.22), rotation=pi))
top.add(gdstk.Reference(via_dev, (35.175,-18.23)))
top.add(gdstk.Reference(via_dev, (35.685,-17.11), rotation=pi))
top.add(gdstk.Reference(via_dev, (35.685,-17.11), rotation=pi))
top.add(gdstk.Reference(via_dev, (35.175,-18.23)))
top.add(gdstk.Reference(via_dev, (35.685,-17.11), rotation=pi))
top.add(gdstk.Reference(via_dev, (36.175,-20.25), rotation=3*pi/2))
top.add(gdstk.Reference(via_dev, (36.175,-20.25), rotation=3*pi/2))
top.add(gdstk.Reference(via_dev, (36.175,-20.25), rotation=3*pi/2))
top.add(gdstk.Reference(via_dev, (35.685,-17.11), rotation=pi))
top.add(gdstk.Reference(via_dev, (35.175,-18.23)))
top.add(gdstk.Reference(via_dev, (35.685,-17.11), rotation=pi))
top.add(gdstk.Reference(via_dev, (35.175,-18.23)))
top.add(gdstk.Reference(via_dev, (36.175,-15.14), rotation=3*pi/2))
top.add(gdstk.Reference(via_dev, (36.175,-15.14), rotation=3*pi/2))
top.add(gdstk.Reference(nfet, (38.445,-16.84)))
top.add(gdstk.Reference(via_dev, (36.175,-20.25), rotation=3*pi/2))
top.add(gdstk.Reference(via_dev, (35.685,-19.28), rotation=pi))
top.add(gdstk.Reference(via_dev, (36.175,-20.25), rotation=3*pi/2))
top.add(gdstk.Reference(via_dev, (34.285,-18.95)))
top.add(gdstk.Reference(via_dev, (35.685,-14.17), rotation=pi))
top.add(gdstk.Reference(via_dev, (36.875,-14.17), rotation=3*pi/2))
top.add(gdstk.Reference(via_dev_2, (36.875,-17.11), rotation=3*pi/2))
top.add(gdstk.Reference(via_dev, (21.735,-19.28), rotation=pi))
top.add(gdstk.Reference(via_dev, (21.735,-14.17), rotation=pi))
top.add(gdstk.Reference(via_dev, (21.735,-19.28), rotation=pi))
top.add(gdstk.Reference(via_dev, (26.385,-19.28), rotation=pi))
top.add(gdstk.Reference(via_dev, (20.335,-18.95)))
top.add(gdstk.Reference(via_dev, (26.385,-14.17), rotation=pi))
top.add(gdstk.Reference(nfet, (24.495,-21.95)))
top.add(gdstk.Reference(via_dev, (21.735,-17.11), rotation=pi))
top.add(gdstk.Reference(via_dev, (26.385,-17.11), rotation=pi))
top.add(gdstk.Reference(via_dev, (17.575,-15.14), rotation=3*pi/2))
top.add(gdstk.Reference(via_dev, (19.445,-15.14), rotation=3*pi/2))
top.add(gdstk.Reference(nfet, (24.495,-16.84)))
top.add(gdstk.Reference(via_dev, (26.385,-17.11), rotation=pi))
top.add(gdstk.Reference(via_dev, (26.385,-22.22), rotation=pi))
top.add(gdstk.Reference(nfet, (19.845,-16.84)))
top.add(gdstk.Reference(via_dev, (26.385,-22.22), rotation=pi))
top.add(gdstk.Reference(via_dev, (21.735,-19.28), rotation=pi))
top.add(gdstk.Reference(via_dev, (22.225,-15.14), rotation=3*pi/2))
top.add(gdstk.Reference(via_dev, (21.735,-22.22), rotation=pi))
top.add(gdstk.Reference(via_dev, (24.095,-15.14), rotation=3*pi/2))
top.add(gdstk.Reference(via_dev, (26.385,-19.28), rotation=pi))
top.add(gdstk.Reference(via_dev, (17.575,-20.25), rotation=3*pi/2))
top.add(gdstk.Reference(via_dev, (26.875,-15.14), rotation=3*pi/2))
top.add(gdstk.Reference(via_dev, (28.745,-15.14), rotation=3*pi/2))
top.add(gdstk.Reference(via_dev, (26.385,-19.28), rotation=pi))
top.add(gdstk.Reference(via_dev, (19.445,-20.25), rotation=3*pi/2))
top.add(gdstk.Reference(via_dev, (24.985,-18.95)))
top.add(gdstk.Reference(via_dev, (26.385,-22.22), rotation=pi))
top.add(gdstk.Reference(via_dev, (22.225,-20.25), rotation=3*pi/2))
top.add(gdstk.Reference(via_dev, (24.095,-20.25), rotation=3*pi/2))
top.add(gdstk.Reference(via_dev, (26.875,-20.25), rotation=3*pi/2))
top.add(gdstk.Reference(via_dev, (28.745,-20.25), rotation=3*pi/2))
top.add(gdstk.Reference(via_dev, (21.735,-22.22), rotation=pi))
top.add(gdstk.Reference(via_dev, (21.735,-22.22), rotation=pi))
top.add(gdstk.Reference(nfet, (19.845,-21.95)))
top.add(gdstk.Reference(via_dev, (21.735,-17.11), rotation=pi))
top.add(gdstk.Reference(nfet, (24.495,-32.17)))
top.add(gdstk.Reference(via_dev, (22.225,-25.36), rotation=3*pi/2))
top.add(gdstk.Reference(via_dev, (21.735,-24.39), rotation=pi))
top.add(gdstk.Reference(via_dev, (26.385,-24.39), rotation=pi))
top.add(gdstk.Reference(via_dev, (17.575,-25.36), rotation=3*pi/2))
top.add(gdstk.Reference(via_dev, (21.735,-24.39), rotation=pi))
top.add(gdstk.Reference(via_dev, (26.385,-24.39), rotation=pi))
top.add(gdstk.Reference(via_dev, (19.445,-25.36), rotation=3*pi/2))
top.add(gdstk.Reference(via_dev, (24.985,-24.06)))
top.add(gdstk.Reference(via_dev, (21.735,-24.39), rotation=pi))
top.add(gdstk.Reference(via_dev, (20.335,-24.06)))
top.add(gdstk.Reference(via_dev, (28.745,-25.36), rotation=3*pi/2))
top.add(gdstk.Reference(via_dev, (21.735,-27.33), rotation=pi))
top.add(gdstk.Reference(via_dev, (26.385,-27.33), rotation=pi))
top.add(gdstk.Reference(nfet, (24.495,-27.06)))
top.add(gdstk.Reference(via_dev, (21.735,-24.39), rotation=pi))
top.add(gdstk.Reference(via_dev, (26.875,-25.36), rotation=3*pi/2))
top.add(gdstk.Reference(via_dev, (24.095,-25.36), rotation=3*pi/2))
top.add(gdstk.Reference(nfet, (19.845,-27.06)))
top.add(gdstk.Reference(via_dev, (26.385,-24.39), rotation=pi))
top.add(gdstk.Reference(via_dev, (26.385,-24.39), rotation=pi))
top.add(gdstk.Reference(nfet, (19.845,-32.17)))
top.add(gdstk.Reference(via_dev, (36.175,-25.36), rotation=3*pi/2))
top.add(gdstk.Reference(via_dev_1, (34.275,-27.73)))
top.add(gdstk.Reference(via_dev, (35.685,-24.39), rotation=pi))
top.add(gdstk.Reference(nfet, (38.445,-27.06)))
top.add(gdstk.Reference(nfet, (38.445,-32.17)))
top.add(gdstk.Reference(via_dev, (36.175,-25.36), rotation=3*pi/2))
top.add(gdstk.Reference(via_dev, (41.87,-25.36), rotation=3*pi/2))
top.add(gdstk.Reference(nfet, (33.795,-27.06)))
top.add(gdstk.Reference(via_dev, (34.285,-24.06)))
top.add(gdstk.Reference(via_dev, (34.285,-24.06)))
top.add(gdstk.Reference(via_dev, (35.685,-24.39), rotation=pi))
top.add(gdstk.Reference(via_dev, (35.685,-24.39), rotation=pi))
top.add(gdstk.Reference(nfet, (33.795,-32.17)))
top.add(gdstk.Reference(via_dev, (31.525,-25.36), rotation=3*pi/2))
top.add(gdstk.Reference(via_dev, (36.175,-25.36), rotation=3*pi/2))
top.add(gdstk.Reference(via_dev, (33.395,-25.36), rotation=3*pi/2))
top.add(gdstk.Reference(via_dev, (35.685,-24.39), rotation=pi))
top.add(gdstk.Reference(via_dev, (35.685,-24.39), rotation=pi))
top.add(gdstk.Label('VG', (36.995,-12.88), layer=34, texttype=10))
top.add(gdstk.Label('gnd', (42.01,-15.8), layer=34, texttype=10))
top.add(gdstk.Label('VS', (-9.375,-5.375), layer=34, texttype=10))

lib.write_gds('TOP.gds')
